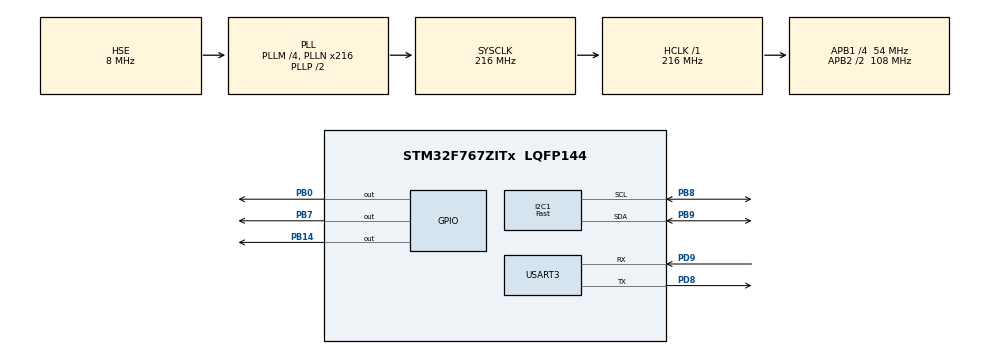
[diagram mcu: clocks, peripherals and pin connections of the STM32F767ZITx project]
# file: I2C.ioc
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CORTEX_M7.CPU_DCache=Enabled
CORTEX_M7.CPU_ICache=Enabled
I2C1.I2C_Speed_Mode=I2C_Fast
I2C1.Speed=400
I2C1.Timing=0x6000030D
Mcu.Family=STM32F7
Mcu.Name=STM32F767ZITx
Mcu.Package=LQFP144
NVIC.PriorityGroup=NVIC_PRIORITYGROUP_4
PB0.Signal=GPIO_Output
PB14.Signal=GPIO_Output
PB7.Signal=GPIO_Output
PB8.Mode=I2C
PB8.Signal=I2C1_SCL
PB9.Mode=I2C
PB9.Signal=I2C1_SDA
PD8.Mode=Asynchronous
PD8.Signal=USART3_TX
PD9.Mode=Asynchronous
PD9.Signal=USART3_RX
PH0/OSC_IN.Mode=HSE-External-Clock-Source
PH0/OSC_IN.Signal=RCC_OSC_IN
PH1/OSC_OUT.Mode=HSE-External-Clock-Source
PH1/OSC_OUT.Signal=RCC_OSC_OUT
ProjectManager.HeapSize=0x800
ProjectManager.StackSize=0x800
ProjectManager.TargetToolchain=STM32CubeIDE
RCC.AHBFreq_Value=216000000
RCC.APB1CLKDivider=RCC_HCLK_DIV4
RCC.APB1Freq_Value=54000000
RCC.APB1TimFreq_Value=108000000
RCC.APB2CLKDivider=RCC_HCLK_DIV2
RCC.APB2Freq_Value=108000000
RCC.APB2TimFreq_Value=216000000
RCC.CortexFreq_Value=216000000
RCC.HCLKFreq_Value=216000000
RCC.HSE_VALUE=8000000
RCC.HSI_VALUE=16000000
RCC.LSE_VALUE=32768
RCC.PLLM=4
RCC.PLLN=216
RCC.PLLSourceVirtual=RCC_PLLSOURCE_HSE
RCC.SYSCLKFreq_VALUE=216000000
RCC.SYSCLKSource=RCC_SYSCLKSOURCE_PLLCLK
RCC.USBFreq_Value=216000000
RCC.VCOOutputFreq_Value=432000000
STMicroelectronics.X-CUBE-AI.8.1.0.ActivationBufferSizeList=345252
STMicroelectronics.X-CUBE-AI.8.1.0.ActivationBuffers=pool0
STMicroelectronics.X-CUBE-AI.8.1.0.ActivationNames=pool0
STMicroelectronics.X-CUBE-AI.8.1.0.ActivationSizes=AI_NETWORK_DATA_ACTIVATION_1_SIZE
STMicroelectronics.X-CUBE-AI.8.1.0.ApplicationCcDeviceJjApplication=ApplicationTemplate
STMicroelectronics.X-CUBE-AI.8.1.0.HeapSize=0x800
STMicroelectronics.X-CUBE-AI.8.1.0.InternalRamActivationBufferMaxSize=AI_NETWORK_DATA_ACTIVATIONS_SIZE
STMicroelectronics.X-CUBE-AI.8.1.0.LatestDirectoryUsed-9a789cc106d025154c28ca3a643c83af7d16c92aff570a2003dba81146c0d560=C\:\\Project\\ThermalCamera\\h5
STMicroelectronics.X-CUBE-AI.8.1.0.MaximumNumberOfInputLayer=1
STMicroelectronics.X-CUBE-AI.8.1.0.MaximumNumberOfOutputLayer=1
STMicroelectronics.X-CUBE-AI.8.1.0.MaximumSizeOfInputLayer=1
STMicroelectronics.X-CUBE-AI.8.1.0.MaximumSizeOfOutputLayer=1
STMicroelectronics.X-CUBE-AI.8.1.0.ModelActualCompression-9a789cc106d025154c28ca3a643c83af7d16c92aff570a2003dba81146c0d560=0.0
STMicroelectronics.X-CUBE-AI.8.1.0.ModelCompression-9a789cc106d025154c28ca3a643c83af7d16c92aff570a2003dba81146c0d560=None
STMicroelectronics.X-CUBE-AI.8.1.0.ModelFlashOccupation-9a789cc106d025154c28ca3a643c83af7d16c92aff570a2003dba81146c0d560=182122
STMicroelectronics.X-CUBE-AI.8.1.0.ModelHashList=9a789cc106d025154c28ca3a643c83af7d16c92aff570a2003dba81146c0d560
STMicroelectronics.X-CUBE-AI.8.1.0.ModelKind-9a789cc106d025154c28ca3a643c83af7d16c92aff570a2003dba81146c0d560=KERAS
STMicroelectronics.X-CUBE-AI.8.1.0.ModelMacc-9a789cc106d025154c28ca3a643c83af7d16c92aff570a2003dba81146c0d560=13576512
STMicroelectronics.X-CUBE-AI.8.1.0.ModelName-9a789cc106d025154c28ca3a643c83af7d16c92aff570a2003dba81146c0d560=network
STMicroelectronics.X-CUBE-AI.8.1.0.ModelNameList=network
STMicroelectronics.X-CUBE-AI.8.1.0.ModelRamOccupation-9a789cc106d025154c28ca3a643c83af7d16c92aff570a2003dba81146c0d560=345252
STMicroelectronics.X-CUBE-AI.8.1.0.ModelStructureFile-9a789cc106d025154c28ca3a643c83af7d16c92aff570a2003dba81146c0d560=C\:\\Project\\ThermalCamera\\h5\\v2_4(80).h5
STMicroelectronics.X-CUBE-AI.8.1.0.ModelType-9a789cc106d025154c28ca3a643c83af7d16c92aff570a2003dba81146c0d560=Saved model
STMicroelectronics.X-CUBE-AI.8.1.0.ReadyForCodeGeneration=true
STMicroelectronics.X-CUBE-AI.8.1.0.StackSize=0x800
STMicroelectronics.X-CUBE-AI.8.1.0.ValidationInputFile-9a789cc106d025154c28ca3a643c83af7d16c92aff570a2003dba81146c0d560=C\:\\Project\\ThermalCamera\\h5\\stm_test_data.npz
STMicroelectronics.X-CUBE-AI.8.1.0.ValidationInputFileHistory-9a789cc106d025154c28ca3a643c83af7d16c92aff570a2003dba81146c0d560=C\:\\Project\\ThermalCamera\\h5\\stm_test_data.npz,C\:\\Project\\ThermalCamera\\h5\\stm_test_data.npz,C\:\\Project\\ThermalCamera\\h5\\stm_test_data.npz,C\:\\Project\\ThermalCamera\\h5\\stm_test_data.npz,C\:\\Project\\ThermalCamera\\h5\\stm_test_data.npz,C\:\\Project\\ThermalCamera\\h5\\stm_test_data.npz,C\:\\Project\\ThermalCamera\\h5\\stm_test_data.npz,C\:\\Project\\ThermalCamera\\h5\\stm_test_data.npz
STMicroelectronics.X-CUBE-AI.8.1.0.WorkingBufferStartAddrList=0xFFFFFFFF
STMicroelectronics.X-CUBE-AI.8.1.0.XAaCUBEAaAICcArtificialOoIntelligenceJjCore=true
STMicroelectronics.X-CUBE-AI.8.1.0.copyWeightToRam=false
STMicroelectronics.X-CUBE-AI.8.1.0.copyWeightToRam-9a789cc106d025154c28ca3a643c83af7d16c92aff570a2003dba81146c0d560=false
STMicroelectronics.X-CUBE-AI.8.1.0.customLayerConfigEnabled=false
STMicroelectronics.X-CUBE-AI.8.1.0.customLayerConfigEnabled-9a789cc106d025154c28ca3a643c83af7d16c92aff570a2003dba81146c0d560=false
STMicroelectronics.X-CUBE-AI.8.1.0.noOnnxIoTranspose=false
STMicroelectronics.X-CUBE-AI.8.1.0.noOnnxIoTranspose-9a789cc106d025154c28ca3a643c83af7d16c92aff570a2003dba81146c0d560=false
STMicroelectronics.X-CUBE-AI.8.1.0.optimization=time
STMicroelectronics.X-CUBE-AI.8.1.0.optimization-9a789cc106d025154c28ca3a643c83af7d16c92aff570a2003dba81146c0d560=time
STMicroelectronics.X-CUBE-AI.8.1.0.useInputAllocation=true
STMicroelectronics.X-CUBE-AI.8.1.0.useInputAllocation-9a789cc106d025154c28ca3a643c83af7d16c92aff570a2003dba81146c0d560=true
STMicroelectronics.X-CUBE-AI.8.1.0.useOutputAllocation=true
STMicroelectronics.X-CUBE-AI.8.1.0.useOutputAllocation-9a789cc106d025154c28ca3a643c83af7d16c92aff570a2003dba81146c0d560=true
USART3.VirtualMode-Asynchronous=VM_ASYNC
VP_CRC_VS_CRC.Mode=CRC_Activate
VP_STMicroelectronics.X-CUBE-AI_VS_ArtificialOoIntelligenceJjXAaCUBEAaAI_8.1.0.Mode=ArtificialOoIntelligenceJjXAaCUBEAaAI
VP_STMicroelectronics.X-CUBE-AI_VS_DeviceJjApplication_8.1.0.Mode=DeviceJjApplication
board=custom

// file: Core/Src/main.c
/* USER CODE BEGIN Header */
/**
  ******************************************************************************
  * @file           : main.c
  * @brief          : Main program body
  ******************************************************************************
  * @attention
  *
  * Copyright (c) 2023 STMicroelectronics.
  * All rights reserved.
  *
  * This software is licensed under terms that can be found in the LICENSE file
  * in the root directory of this software component.
  * If no LICENSE file comes with this software, it is provided AS-IS.
  *
  ******************************************************************************
  */
/* USER CODE END Header */
#include "main.h"
#include "crc.h"
#include "i2c.h"
#include "usart.h"
#include "gpio.h"
#include "app_x-cube-ai.h"

/* USER CODE BEGIN Includes */
#include "MLX90640_API.h"
#include <float.h>
#include <math.h>
/* USER CODE END Includes */

/* USER CODE BEGIN PV */
#define  FPS2HZ   0x02
#define  FPS4HZ   0x03
#define  FPS8HZ   0x04
#define  FPS16HZ  0x05
#define  FPS32HZ  0x06

#define  MLX90640_ADDR 0x33
#define	 RefreshRate FPS16HZ
#define  TA_SHIFT 8 //Default shift for MLX90640 in open air

#define THERMAL_CAMERA_ROWS 24
#define THERMAL_CAMERA_COLS 32

#define REDUCED_ROWS 12
#define REDUCED_COLS 16

float ai_input_data[THERMAL_CAMERA_ROWS][THERMAL_CAMERA_COLS][1];
float input_data[THERMAL_CAMERA_ROWS][THERMAL_CAMERA_COLS][1];
float output_data[THERMAL_CAMERA_ROWS][THERMAL_CAMERA_COLS][1];
static uint16_t eeMLX90640[832];
static float mlx90640To[768];
uint16_t frame[834];
float emissivity=0.95;
int status;

//uint8_t ai_input_data[THERMAL_CAMERA_ROWS][THERMAL_CAMERA_COLS][1];
/* USER CODE END PV */

void SystemClock_Config(void);

int main(void)
{
/* Enable the CPU Cache */

  /* Enable I-Cache---------------------------------------------------------*/
  SCB_EnableICache();

  /* Enable D-Cache---------------------------------------------------------*/
  SCB_EnableDCache();

  /* MCU Configuration--------------------------------------------------------*/

  /* Reset of all peripherals, Initializes the Flash interface and the Systick. */
  HAL_Init();

  /* Configure the system clock */
  SystemClock_Config();

  /* Initialize all configured peripherals */
  MX_GPIO_Init();
  MX_I2C1_Init();
  MX_USART3_UART_Init();
  MX_CRC_Init();
  MX_X_CUBE_AI_Init();
  /* USER CODE BEGIN 2 */

  MLX90640_SetRefreshRate(MLX90640_ADDR, RefreshRate);
  MLX90640_SetChessMode(MLX90640_ADDR);

  paramsMLX90640 mlx90640;
  status = MLX90640_DumpEE(MLX90640_ADDR, eeMLX90640);
  if (status != 0) printf("\r\nload system parameters error with code:%d\r\n",status);
  status = MLX90640_ExtractParameters(eeMLX90640, &mlx90640);
  if (status != 0) printf("\r\nParameter extraction failed with error code:%d\r\n",status);

  HAL_GPIO_WritePin(GPIOB, GPIO_PIN_0, GPIO_PIN_RESET);
  HAL_GPIO_WritePin(GPIOB, GPIO_PIN_7, GPIO_PIN_RESET);
  HAL_GPIO_WritePin(GPIOB, GPIO_PIN_14, GPIO_PIN_RESET);

  void bilinear_interpolation(float input[THERMAL_CAMERA_ROWS][THERMAL_CAMERA_COLS],
                              float output[THERMAL_CAMERA_ROWS][THERMAL_CAMERA_COLS]) {
      for (int i = 0; i < THERMAL_CAMERA_ROWS; i++) {
          for (int j = 0; j < THERMAL_CAMERA_COLS; j++) {
              float top = (i == 0) ? input[i][j] : input[i - 1][j];
              float bottom = (i == THERMAL_CAMERA_ROWS - 1) ? input[i][j] : input[i + 1][j];
              float left = (j == 0) ? input[i][j] : input[i][j - 1];
              float right = (j == THERMAL_CAMERA_COLS - 1) ? input[i][j] : input[i][j + 1];

              output[i][j] = (top + bottom + left + right) / 4.0;
          }
      }
  }

  void downscale_and_upscale(float input[THERMAL_CAMERA_ROWS][THERMAL_CAMERA_COLS],
                             float output[THERMAL_CAMERA_ROWS][THERMAL_CAMERA_COLS]) {
      float temp[REDUCED_ROWS][REDUCED_COLS];

      for (int i = 0; i < REDUCED_ROWS; i++) {
          for (int j = 0; j < REDUCED_COLS; j++) {
              float sum = input[i*2][j*2] + input[i*2][j*2+1] +
                          input[i*2+1][j*2] + input[i*2+1][j*2+1];
              temp[i][j] = sum / 4.0;
          }
      }

      for (int i = 0; i < THERMAL_CAMERA_ROWS; i++) {
          for (int j = 0; j < THERMAL_CAMERA_COLS; j++) {
              output[i][j] = temp[i/2][j/2];
          }
      }
  }

  /* USER CODE END 2 */

  /* Infinite loop */
  /* USER CODE BEGIN WHILE */
  while (1)
  {

	  for (uint8_t page = 0; page < 2; page++)
	  {
		  status = MLX90640_GetFrameData(MLX90640_ADDR, frame);
	  }
	  if (status < 0)
	  {
		  printf("status error");
	  }
//	  		float vdd = MLX90640_GetVdd(frame, &mlx90640);
//	  		float Ta = MLX90640_GetTa(frame, &mlx90640);
//
//	  		float tr = Ta - TA_SHIFT;
//	  		MLX90640_CalculateTo(frame, &mlx90640, emissivity , tr, mlx90640To);
//
//	  			float minTemp = FLT_MAX;
//	  		    float maxTemp = -FLT_MAX;
//
//	  		    for(int i = 0; i < 768; i++) {
//	  		        if(mlx90640To[i] < minTemp) minTemp = mlx90640To[i];
//	  		        if(mlx90640To[i] > maxTemp) maxTemp = mlx90640To[i];
//	  		    }
//
//
//	  		    for(int i = 0; i < THERMAL_CAMERA_ROWS; i++) {
//	  		        for(int j = 0; j < THERMAL_CAMERA_COLS; j++) {
//	  		            float temp = mlx90640To[i * THERMAL_CAMERA_COLS + j];
//	  		            uint8_t scaledTemp = (uint8_t)((temp - minTemp) / (maxTemp - minTemp) * 255.0);
//
//	  		            ai_input_data[i][j][0] = scaledTemp;
//	  		        }
//	  		    }
	  else{

		  float vdd = MLX90640_GetVdd(frame, &mlx90640);
		  float Ta = MLX90640_GetTa(frame, &mlx90640);

		  float tr = Ta - TA_SHIFT;
		  MLX90640_CalculateTo(frame, &mlx90640, emissivity , tr, mlx90640To);
		  MLX90640_BadPixelsCorrection((&mlx90640)->brokenPixels, mlx90640To, 0, &mlx90640);
		  MLX90640_BadPixelsCorrection((&mlx90640)->outlierPixels, mlx90640To, 0, &mlx90640);
		  float minTemp = FLT_MAX;
		  float maxTemp = -FLT_MAX;

		  for(int i = 0; i < 768; i++) {
		      if(mlx90640To[i] < minTemp) minTemp = mlx90640To[i];
		      if(mlx90640To[i] > maxTemp) maxTemp = mlx90640To[i];
		  }

		  for(int i = 0; i < THERMAL_CAMERA_ROWS; i++) {
		      for(int j = 0; j < THERMAL_CAMERA_COLS; j++) {
		          float temp = mlx90640To[i * THERMAL_CAMERA_COLS + j];
		          float scaledTemp = (temp - minTemp) / (maxTemp - minTemp);

		          ai_input_data[i][j][0] = scaledTemp;
		      }
		  }

//		  		bilinear_interpolation(input_data, ai_input_data);
//		  		downscale_and_upscale(ai_input_data, output_data);

//		  	  char buffer[100];
//
//		  	  for(int i = 0; i < THERMAL_CAMERA_ROWS; i++) {
//		  	      int idx = 0;
//		  	      for(int j = 0; j < THERMAL_CAMERA_COLS; j++) {
//		  	          idx += snprintf(&buffer[idx], sizeof(buffer) - idx, "%.2f ", ai_input_data[i][j][0]);
//		  	          if (idx >= sizeof(buffer) - 5) {
//		  	              HAL_UART_Transmit(&huart3, (uint8_t*)buffer, idx, HAL_MAX_DELAY);
//		  	              idx = 0;
//		  	          }
//		  	      }
//		  	      buffer[idx++] = '\r';
//		  	      buffer[idx++] = '\n';
//		  	      HAL_UART_Transmit(&huart3, (uint8_t*)buffer, idx, HAL_MAX_DELAY);
//		  	  }

//	  int status = MLX90640_GetFrameData(MLX90640_ADDR, frame);
//	  if (status < 0) {
//	      printf("GetFrame Error: %d\r\n", status);
//	  } else {
//	      float vdd = MLX90640_GetVdd(frame, &mlx90640);
//	      float Ta = MLX90640_GetTa(frame, &mlx90640);
//
//	      float tr = Ta - TA_SHIFT; // TA_SHIFT is a constant that needs to be defined somewhere
//	      MLX90640_CalculateTo(frame, &mlx90640, emissivity, tr, mlx90640To);
//
//	      float minTemp = FLT_MAX;
//	      float maxTemp = -FLT_MAX;
//
//	      // Reset min and max with each new frame
//	      for (int i = 0; i < 768; i++) {
//	          minTemp = fmin(minTemp, mlx90640To[i]);
//	          maxTemp = fmax(maxTemp, mlx90640To[i]);
//	      }
//
//	      // Normalize and scale the temperature data for ai input
//	      for (int i = 0; i < THERMAL_CAMERA_ROWS; i++) {
//	          for (int j = 0; j < THERMAL_CAMERA_COLS; j++) {
//	              float temp = mlx90640To[i * THERMAL_CAMERA_COLS + j];
//	              uint8_t scaledTemp = (uint8_t)((temp - minTemp) / (maxTemp - minTemp) * 255.0);
//
//	              ai_input_data[i][j][0] = scaledTemp;
//	          }
//	      }
//	  }

//	  		  	  		  char buffer[100];
//
//	  		  	  		     for(int i = 0; i < THERMAL_CAMERA_ROWS; i++) {
//	  		  	  		         int idx = 0;
//	  		  	  		         for(int j = 0; j < THERMAL_CAMERA_COLS; j++) {
//	  		  	  		             idx += snprintf(&buffer[idx], sizeof(buffer) - idx, "%u ", ai_input_data[i][j][0]);
//	  		  	  		             if (idx >= sizeof(buffer) - 5) {
//	  		  	  		            	 HAL_UART_Transmit(&huart3, (uint8_t*)buffer, idx, HAL_MAX_DELAY);
//	  		  	  		                 idx = 0;
//	  		  	  		             }
//	  		  	  		         }
//	  		  	  		         buffer[idx++] = '\r';
//	  		  	  		         buffer[idx++] = '\n';
//	  		  	  		         HAL_UART_Transmit(&huart3, (uint8_t*)buffer, idx, HAL_MAX_DELAY);
//	  		  	  		     }

//	  		  acquire_and_process_data(ai_input_data);

    /* USER CODE END WHILE */

  MX_X_CUBE_AI_Process();
	  }
  }
}

void SystemClock_Config(void)
{
  RCC_OscInitTypeDef RCC_OscInitStruct = {0};
  RCC_ClkInitTypeDef RCC_ClkInitStruct = {0};

  /** Configure the main internal regulator output voltage
  */
  __HAL_RCC_PWR_CLK_ENABLE();
  __HAL_PWR_VOLTAGESCALING_CONFIG(PWR_REGULATOR_VOLTAGE_SCALE1);

  /** Initializes the RCC Oscillators according to the specified parameters
  * in the RCC_OscInitTypeDef structure.
  */
  RCC_OscInitStruct.OscillatorType = RCC_OSCILLATORTYPE_HSE;
  RCC_OscInitStruct.HSEState = RCC_HSE_BYPASS;
  RCC_OscInitStruct.PLL.PLLState = RCC_PLL_ON;
  RCC_OscInitStruct.PLL.PLLSource = RCC_PLLSOURCE_HSE;
  RCC_OscInitStruct.PLL.PLLM = 4;
  RCC_OscInitStruct.PLL.PLLN = 216;
  RCC_OscInitStruct.PLL.PLLP = RCC_PLLP_DIV2;
  RCC_OscInitStruct.PLL.PLLQ = 2;
  RCC_OscInitStruct.PLL.PLLR = 2;
  if (HAL_RCC_OscConfig(&RCC_OscInitStruct) != HAL_OK)
  {
    Error_Handler();
  }

  /** Activate the Over-Drive mode
  */
  if (HAL_PWREx_EnableOverDrive() != HAL_OK)
  {
    Error_Handler();
  }

  /** Initializes the CPU, AHB and APB buses clocks
  */
  RCC_ClkInitStruct.ClockType = RCC_CLOCKTYPE_HCLK|RCC_CLOCKTYPE_SYSCLK
                              |RCC_CLOCKTYPE_PCLK1|RCC_CLOCKTYPE_PCLK2;
  RCC_ClkInitStruct.SYSCLKSource = RCC_SYSCLKSOURCE_PLLCLK;
  RCC_ClkInitStruct.AHBCLKDivider = RCC_SYSCLK_DIV1;
  RCC_ClkInitStruct.APB1CLKDivider = RCC_HCLK_DIV4;
  RCC_ClkInitStruct.APB2CLKDivider = RCC_HCLK_DIV2;

  if (HAL_RCC_ClockConfig(&RCC_ClkInitStruct, FLASH_LATENCY_7) != HAL_OK)
  {
    Error_Handler();
  }
}

void Error_Handler(void)
{
  __disable_irq();
  while (1)
  {
  }
}
